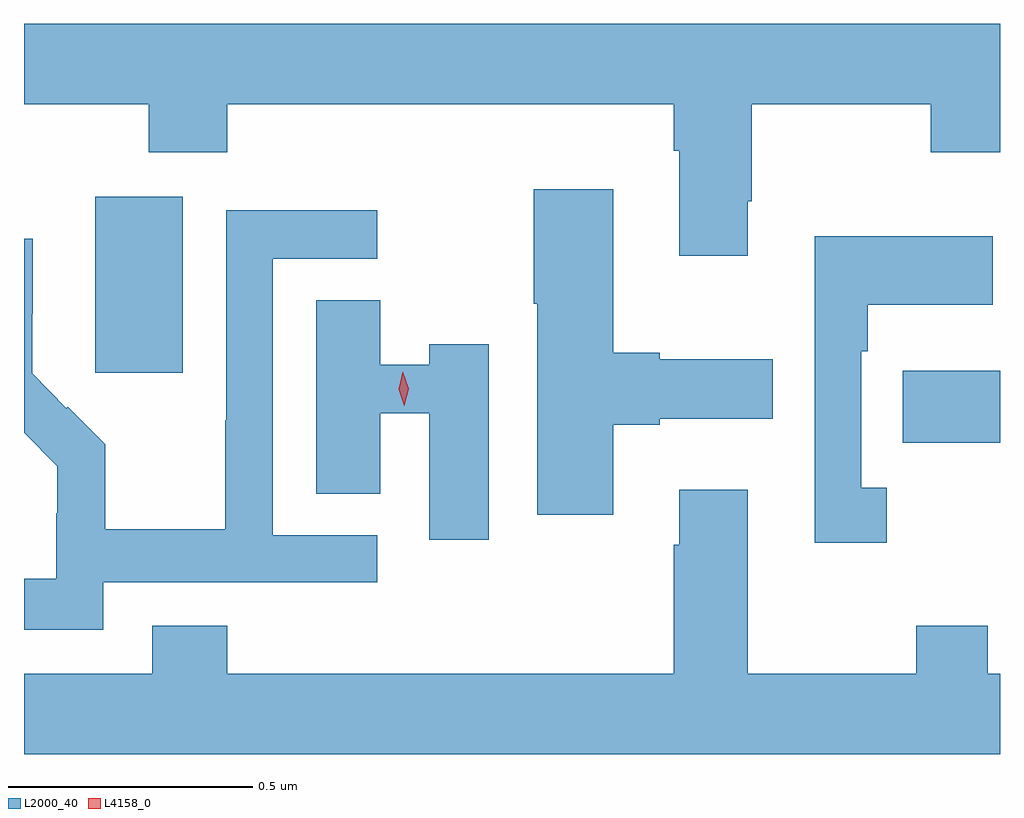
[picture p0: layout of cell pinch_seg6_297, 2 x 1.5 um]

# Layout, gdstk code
import gdstk
lib = gdstk.Library(unit=1e-6, precision=1e-09)
def R(c, l, rs):  # rectangles x0, y0, x1, y1
    for r in rs: c.add(gdstk.rectangle(r[:2], r[2:], *l))
def P(c, l, *ps):  # polygons
    for p in ps: c.add(gdstk.Polygon(p, *l))
L2000_40 = (2000, 40)
L4158_0 = (4158, 0)

pinch_seg6_297 = lib.new_cell('pinch_seg6_297')
R(pinch_seg6_297, L2000_40, [(875.845,973.282,876.044,973.429), (874.19,973.425,874.369,973.786)])
P(pinch_seg6_297, L2000_40, [(875.527,973.777),(875.535,973.777),(875.535,973.976),(875.902,973.976),(875.902,973.877),(876.044,973.877),(876.044,974.14),(874.044,974.14),(874.044,973.976),(874.3,973.976),(874.3,973.877),(874.46,973.877),(874.46,973.976),(875.375,973.976),(875.375,973.88),(875.387,973.88),(875.387,973.665),(875.527,973.665)],
  [(875.251,973.319),(875.347,973.319),(875.347,973.331),(875.578,973.331),(875.578,973.453),(875.347,973.453),(875.347,973.466),(875.251,973.466),(875.251,973.801),(875.089,973.801),(875.089,973.567),(875.096,973.567),(875.096,973.134),(875.251,973.134)],
  [(874.206,972.996),(874.768,972.996),(874.768,973.092),(874.554,973.092),(874.554,973.659),(874.768,973.659),(874.768,973.758),(874.458,973.758),(874.458,973.328),(874.456,973.328),(874.456,973.105),(874.211,973.105),(874.211,973.279),(874.134,973.356),(874.131,973.353),(874.061,973.424),(874.061,973.546),(874.062,973.546),(874.062,973.7),(874.044,973.7),(874.044,973.302),(874.112,973.234),(874.112,973.137),(874.11,973.137),(874.11,973.003),(874.044,973.003),(874.044,972.899),(874.206,972.899)],
  [(875.812,973.19),(875.76,973.19),(875.76,973.469),(875.773,973.469),(875.773,973.565),(876.029,973.565),(876.029,973.705),(875.664,973.705),(875.664,973.077),(875.812,973.077)],
  [(874.996,973.484),(874.874,973.484),(874.874,973.442),(874.774,973.442),(874.774,973.574),(874.643,973.574),(874.643,973.177),(874.774,973.177),(874.774,973.342),(874.874,973.342),(874.874,973.083),(874.996,973.083)],
  [(876.044,972.808),(876.019,972.808),(876.019,972.907),(875.872,972.907),(875.872,972.808),(875.527,972.808),(875.527,973.186),(875.387,973.186),(875.387,973.073),(875.375,973.073),(875.375,972.808),(874.46,972.808),(874.46,972.907),(874.307,972.907),(874.307,972.808),(874.044,972.808),(874.044,972.644),(876.044,972.644)])
P(pinch_seg6_297, L4158_0, [(874.823,973.358),(874.823,973.358),(874.812,973.392),(874.82,973.427),(874.82,973.427),(874.82,973.427),(874.832,973.393),(874.823,973.358)])

lib.write_gds('pinch_seg6_297.gds')
